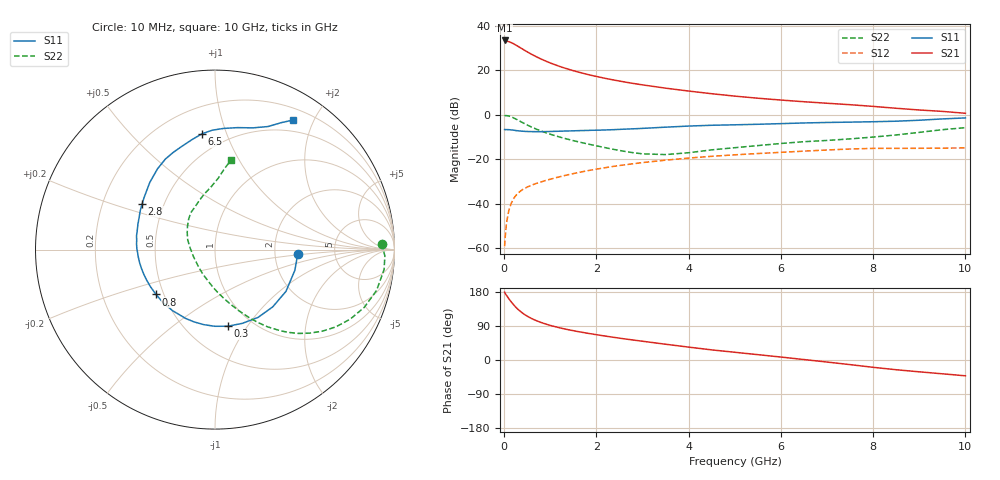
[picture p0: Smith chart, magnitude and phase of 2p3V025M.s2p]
! (c) 2009  Infineon Technologies AG, Munich
! Infineon Technologies  Discrete & RF Semiconductors
! BFP420
! VCE =  3.0 V,  IC =  25 mA
! Common Emitter S-Parameters:  Nov 2009
# GHz  S  MA  R  50
!  f  S11  S21  S12  S22
! GHz  MAG  ANG  MAG  ANG  MAG  ANG  MAG  ANG
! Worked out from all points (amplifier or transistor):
!   46 points, 10 MHz to 10 GHz, reference 50 ohm
!   highest |S21| = 33.3 dB at 10 MHz (marker M1)
!   |S21| within 3 dB of that: start of sweep to 329.6 MHz
!   unconditionally stable (mu >= 1): 1.682 GHz to end of sweep
!   at 300 MHz: K = 0.36, MSG = 33.0 dB, |S12| = -35.3 dB
!   at 1.7 GHz: K = 1.00, MAG = 21.8 dB, |S12| = -25.7 dB
!   at 10 GHz: K = 1.06, MAG = 6.2 dB, |S12| = -15.0 dB
!   lowest NFmin = 1.38 dB at 900 MHz
!   S11 on the Smith chart (normalised r, x): 10 MHz: 2.70, -0.18; 300 MHz: 0.78, -0.82; 800 MHz: 0.45, -0.27; 2.8 GHz: 0.38, +0.25; 6.5 GHz: 0.37, +0.82; 10 GHz: 0.35, +1.71
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0.01  0.4615 -3.2  46.45 178.9  0.0011 122.8  0.9291 2.0
0.02  0.4593 -6.1  45.35 176.1  0.0016 83.4  0.9471 -2.1
0.1  0.4587 -30.5  43.71 162.0  0.0069 78.8  0.9285 -14.2
0.15  0.4531 -44.7  41.69 153.8  0.0099 74.2  0.8921 -21.1
0.2  0.4476 -57.7  39.35 146.5  0.0127 70.4  0.8473 -27.2
0.25  0.4382 -69.7  36.73 139.6  0.015 67.1  0.7993 -32.6
0.3  0.4329 -80.5  34.32 133.7  0.0171 64.7  0.7505 -37.3
0.4  0.4228 -98.6  29.7 123.7  0.0206 60.9  0.6606 -45.0
0.5  0.4169 -113.3  25.77 115.7  0.0235 58.5  0.584 -50.9
0.6  0.4143 -125.0  22.56 109.1  0.026 57.1  0.5214 -55.7
0.8  0.4128 -142.7  17.77 99.0  0.0306 56.1  0.4281 -63.0
1  0.417 -155.7  14.5 91.3  0.0352 55.7  0.3622 -69.0
1.2  0.4229 -165.7  12.15 85.0  0.0399 55.5  0.3134 -74.5
1.7  0.4382 175.9  8.54 72.9  0.052 53.9  0.2321 -87.8
2.2  0.4517 162.0  6.505 63.0  0.0643 51.0  0.1796 -102.4
2.8  0.479 147.9  5.018 52.7  0.0786 46.5  0.1389 -126.6
3.5  0.5214 134.2  3.931 41.6  0.0945 40.4  0.1261 -161.7
5.5  0.6055 107.4  2.335 14.1  0.1331 22.1  0.201 139.7
6.5  0.6485 96.6  1.946 1.2  0.1507 13.0  0.2459 123.2
7  0.6652 91.4  1.799 -5.4  0.1599 8.1  0.2623 115.3
8.5  0.7104 72.7  1.387 -25.7  0.1743 -8.9  0.3483 93.9
10  0.8413 59.0  1.07 -41.7  0.1781 -20.1  0.5084 79.7
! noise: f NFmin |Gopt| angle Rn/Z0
0.9  1.38  0.22  -154  0.13
1.8  1.65  0.29  -143  0.13
2.4  1.81  0.26  -138  0.17
3  1.83  0.34  -129  0.18
4  1.97  0.45  -112  0.27
5  2.4  0.49  -95  0.44
6  2.85  0.54  -84  0.65
